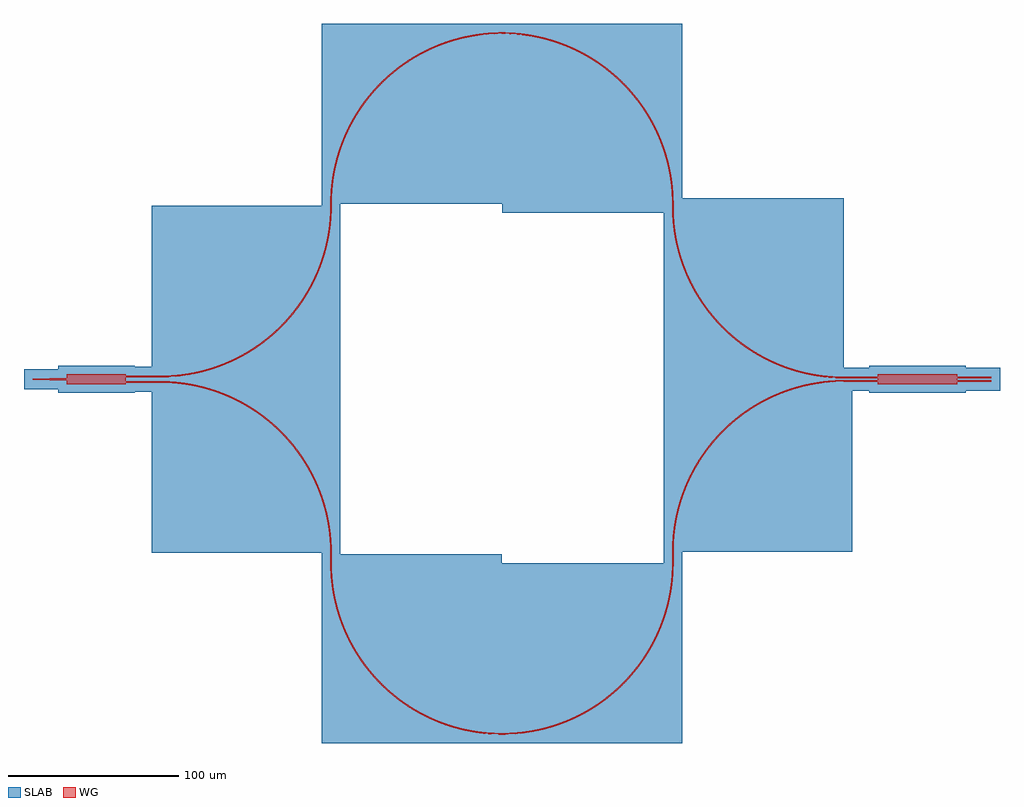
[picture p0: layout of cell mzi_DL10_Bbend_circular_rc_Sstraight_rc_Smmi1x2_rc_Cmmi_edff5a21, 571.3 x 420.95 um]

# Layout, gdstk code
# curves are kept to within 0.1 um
from math import pi, radians
import gdstk
lib = gdstk.Library(unit=1e-6, precision=1e-09)
def R(c, l, rs):  # rectangles x0, y0, x1, y1
    for r in rs: c.add(gdstk.rectangle(r[:2], r[2:], *l))
def P(c, l, *ps):  # polygons
    for p in ps: c.add(gdstk.Polygon(p, *l))
WG = (3, 0)
SLAB = (5, 0)

mmi1x2_wnone_wt1p5_lt20_ = lib.new_cell('mmi1x2_WNone_WT1p5_LT20_LM34p7_WM6_GM1p65_CSxs_rc340')
P(mmi1x2_wnone_wt1p5_lt20_, WG, [(0,-3),(0,-0.75),(-20,-0.4),(-20,0.4),(0,0.75),(0,3),(34.7,3),(34.7,2.325),(54.7,1.975),(54.7,1.175),(34.7,0.825),(34.7,-0.825),(54.7,-1.175),(54.7,-1.975),(34.7,-2.325),(34.7,-3)])
P(mmi1x2_wnone_wt1p5_lt20_, SLAB, [(-5,-8),(-5,-5.75),(-25,-5.75),(-25,5.75),(-5,5.75),(-5,8),(39.7,8),(39.7,7.325),(59.7,7.325),(59.7,-7.325),(39.7,-7.325),(39.7,-8)])

bend_circular_rnone_a90_ = lib.new_cell('bend_circular_RNone_A90_WNone_CSxs_rc340')
P(bend_circular_rnone_a90_, WG, [(0,-0.4),(0,0.4),(5.263,0.539),(11.009,1.01),(16.472,1.771),(21.884,2.834),(26.02,3.859),(30.349,5.136),(34.614,6.608),(39.04,8.37),(43.15,10.232),(47.393,12.398),(51.527,14.764),(55.751,17.465),(59.633,20.225),(63.379,23.167),(67.165,26.454),(70.428,29.572),(73.546,32.835),(76.833,36.621),(79.775,40.367),(82.535,44.249),(85.236,48.473),(87.602,52.607),(89.768,56.85),(91.63,60.96),(93.392,65.386),(94.864,69.651),(96.141,73.98),(97.166,78.116),(98.229,83.528),(98.99,88.991),(99.461,94.737),(99.6,100),(100.4,100),(100.273,94.947),(99.917,90.159),(99.295,85.143),(98.471,80.413),(97.422,75.727),(96.077,70.855),(94.574,66.295),(92.758,61.579),(90.706,56.959),(88.545,52.672),(86.051,48.276),(83.48,44.221),(80.567,40.09),(77.45,36.112),(74.307,32.482),(70.994,29.006),(67.518,25.693),(63.888,22.55),(59.91,19.433),(55.779,16.52),(51.724,13.949),(47.328,11.455),(43.041,9.294),(38.421,7.242),(33.705,5.426),(29.145,3.923),(24.273,2.578),(19.587,1.529),(14.857,0.705),(9.841,0.083),(5.053,-0.273)])
R(bend_circular_rnone_a90_, SLAB, [(-5,-5.4,105.4,100)])

straight_l1_csxs_rc340 = lib.new_cell('straight_L1_CSxs_rc340')
R(straight_l1_csxs_rc340, WG, [(0,-0.4,1,0.4)])
R(straight_l1_csxs_rc340, SLAB, [(-5,-5.4,6,5.4)])

straight_l6_csxs_rc340 = lib.new_cell('straight_L6_CSxs_rc340')
R(straight_l6_csxs_rc340, WG, [(0,-0.4,6,0.4)])
R(straight_l6_csxs_rc340, SLAB, [(-5,-5.4,11,5.4)])

straight_l0p1_csxs_rc340 = lib.new_cell('straight_L0p1_CSxs_rc340')
R(straight_l0p1_csxs_rc340, WG, [(0,-0.4,0.1,0.4)])
R(straight_l0p1_csxs_rc340, SLAB, [(-5,-5.4,5.1,5.4)])

mmi2x2_wnone_wt1p5_lt20_ = lib.new_cell('mmi2x2_WNone_WT1p5_LT20_LM46p5_WM6_GM0p53_CSxs_rc340')
P(mmi2x2_wnone_wt1p5_lt20_, WG, [(0,-3),(0,-1.765),(-20,-1.415),(-20,-0.615),(0,-0.265),(0,0.265),(-20,0.615),(-20,1.415),(0,1.765),(0,3),(46.5,3),(46.5,1.765),(66.5,1.415),(66.5,0.615),(46.5,0.265),(46.5,-0.265),(66.5,-0.615),(66.5,-1.415),(46.5,-1.765),(46.5,-3)])
P(mmi2x2_wnone_wt1p5_lt20_, SLAB, [(-5,-8),(-5,-6.765),(-25,-6.765),(-25,6.765),(-5,6.765),(-5,8),(51.5,8),(51.5,6.765),(71.5,6.765),(71.5,-6.765),(51.5,-6.765),(51.5,-8)])

straight_l1p559999999999 = lib.new_cell('straight_L1p5599999999999998_CSxs_rc340')
R(straight_l1p559999999999, WG, [(0,-0.4,1.56,0.4)])
R(straight_l1p559999999999, SLAB, [(-5,-5.4,6.56,5.4)])

straight_l6p56_csxs_rc34 = lib.new_cell('straight_L6p56_CSxs_rc340')
R(straight_l6p56_csxs_rc34, WG, [(0,-0.4,6.56,0.4)])
R(straight_l6p56_csxs_rc34, SLAB, [(-5,-5.4,11.56,5.4)])

mzi_dl10_bbend_circular_ = lib.new_cell('mzi_DL10_Bbend_circular_rc_Sstraight_rc_Smmi1x2_rc_Cmmi_edff5a21')
mzi_dl10_bbend_circular_.add(gdstk.Reference(mmi1x2_wnone_wt1p5_lt20_, (0,0)))
mzi_dl10_bbend_circular_.add(gdstk.Reference(bend_circular_rnone_a90_, (54.7,-1.575), x_reflection=True))
mzi_dl10_bbend_circular_.add(gdstk.Reference(bend_circular_rnone_a90_, (154.7,-107.575), rotation=3*pi/2))
mzi_dl10_bbend_circular_.add(gdstk.Reference(bend_circular_rnone_a90_, (54.7,1.575)))
mzi_dl10_bbend_circular_.add(gdstk.Reference(bend_circular_rnone_a90_, (254.7,202.575), rotation=pi))
mzi_dl10_bbend_circular_.add(gdstk.Reference(bend_circular_rnone_a90_, (354.8,102.575), rotation=pi/2))
mzi_dl10_bbend_circular_.add(gdstk.Reference(bend_circular_rnone_a90_, (354.8,101.015), rotation=3*pi/2))
mzi_dl10_bbend_circular_.add(gdstk.Reference(bend_circular_rnone_a90_, (254.8,-207.575)))
mzi_dl10_bbend_circular_.add(gdstk.Reference(bend_circular_rnone_a90_, (454.8,-1.015), rotation=pi))
mzi_dl10_bbend_circular_.add(gdstk.Reference(straight_l1_csxs_rc340, (154.7,101.575), rotation=pi/2))
mzi_dl10_bbend_circular_.add(gdstk.Reference(straight_l6_csxs_rc340, (154.7,-101.575), rotation=3*pi/2))
mzi_dl10_bbend_circular_.add(gdstk.Reference(straight_l0p1_csxs_rc340, (254.7,202.575)))
mzi_dl10_bbend_circular_.add(gdstk.Reference(straight_l0p1_csxs_rc340, (254.7,-207.575)))
mzi_dl10_bbend_circular_.add(gdstk.Reference(mmi2x2_wnone_wt1p5_lt20_, (521.3,0), rotation=pi, x_reflection=True))
mzi_dl10_bbend_circular_.add(gdstk.Reference(straight_l1p559999999999, (354.8,101.015), rotation=pi/2))
mzi_dl10_bbend_circular_.add(gdstk.Reference(straight_l6p56_csxs_rc34, (354.8,-107.575), rotation=pi/2))

lib.write_gds('mzi_DL10_Bbend_circular_rc_Sstraight_rc_Smmi1x2_rc_Cmmi_edff5a21.gds')
